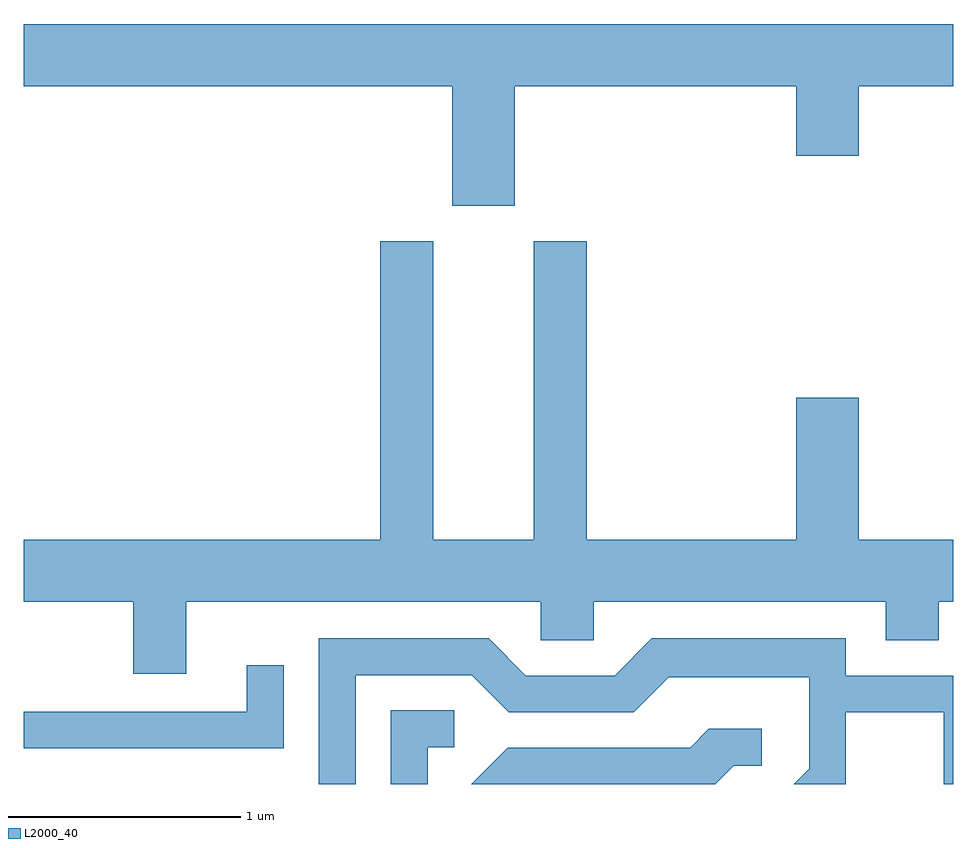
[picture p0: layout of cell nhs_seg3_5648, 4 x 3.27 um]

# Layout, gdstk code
import gdstk
lib = gdstk.Library(unit=1e-6, precision=1e-09)
def P(c, l, *ps):  # polygons
    for p in ps: c.add(gdstk.Polygon(p, *l))
L2000_40 = (2000, 40)

nhs_seg3_5648 = lib.new_cell('nhs_seg3_5648')
P(nhs_seg3_5648, L2000_40, [(353.724,1134.896),(354.936,1134.896),(354.936,1134.596),(355.204,1134.596),(355.204,1134.896),(355.611,1134.896),(355.611,1135.164),(351.611,1135.164),(351.611,1134.896),(353.456,1134.896),(353.456,1134.381),(353.724,1134.381)],
  [(352.309,1132.676),(353.836,1132.676),(353.836,1132.511),(354.064,1132.511),(354.064,1132.676),(355.321,1132.676),(355.321,1132.511),(355.549,1132.511),(355.549,1132.676),(355.611,1132.676),(355.611,1132.944),(355.204,1132.944),(355.204,1133.554),(354.936,1133.554),(354.936,1132.944),(354.034,1132.944),(354.034,1134.229),(353.806,1134.229),(353.806,1132.944),(353.374,1132.944),(353.374,1134.229),(353.146,1134.229),(353.146,1132.944),(351.611,1132.944),(351.611,1132.676),(352.081,1132.676),(352.081,1132.366),(352.309,1132.366)],
  [(353.039,1132.361),(353.539,1132.361),(353.699,1132.201),(354.237,1132.201),(354.387,1132.351),(354.991,1132.351),(354.991,1131.957),(354.926,1131.892),(355.149,1131.892),(355.149,1132.201),(355.571,1132.201),(355.571,1131.892),(355.611,1131.892),(355.611,1132.359),(355.149,1132.359),(355.149,1132.519),(354.314,1132.519),(354.154,1132.359),(353.772,1132.359),(353.612,1132.519),(352.881,1132.519),(352.881,1131.892),(353.039,1131.892)],
  [(352.729,1132.403),(352.571,1132.403),(352.571,1132.204),(351.611,1132.204),(351.611,1132.046),(352.729,1132.046)],
  [(353.349,1132.051),(353.463,1132.051),(353.463,1132.209),(353.191,1132.209),(353.191,1131.892),(353.349,1131.892)],
  [(354.667,1131.971),(354.788,1131.971),(354.788,1132.129),(354.559,1132.129),(354.479,1132.049),(353.694,1132.049),(353.536,1131.892),(354.587,1131.892)])

lib.write_gds('nhs_seg3_5648.gds')
